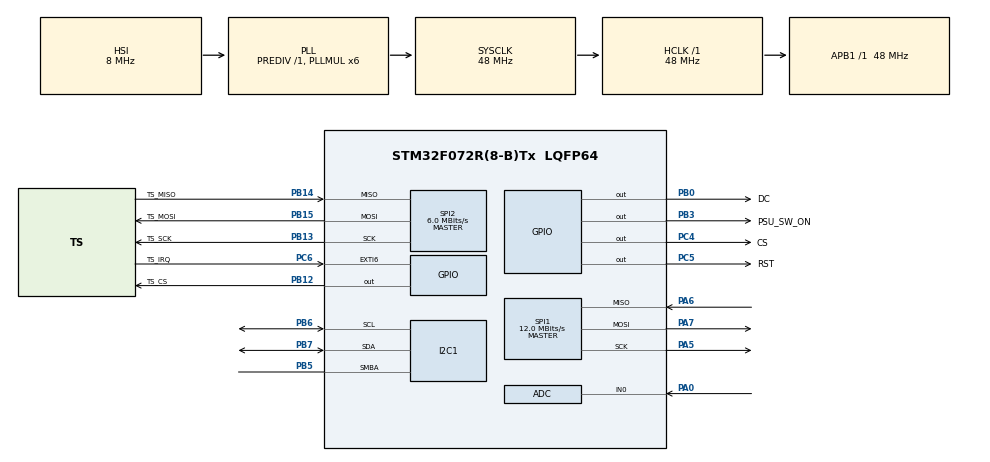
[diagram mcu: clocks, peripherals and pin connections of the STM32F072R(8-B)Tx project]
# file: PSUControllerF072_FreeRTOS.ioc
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ADC.ContinuousConvMode=ENABLE
ADC.Overrun=ADC_OVR_DATA_OVERWRITTEN
FREERTOS.BinarySemaphores01=myBinarySem01,Static,myBinarySem01ControlBlock;myBinarySem02,Static,myBinarySem02ControlBlock
FREERTOS.HEAP_NUMBER=4
FREERTOS.MEMORY_ALLOCATION=1
FREERTOS.Tasks01=DisplayTask,0,512,StartDisplayTask,Default,NULL,Static,DisplayTaskBuffer,DisplayTaskControlBlock;AdcTask,-2,512,StartAdcTask,Default,NULL,Static,AdcTaskBuffer,AdcTaskControlBlock;PenIrqTask,2,512,StartPenIrqTask,Default,NULL,Static,PenIrqTaskBuffer,PenIrqTaskControlBlock
FREERTOS.configCHECK_FOR_STACK_OVERFLOW=0
FREERTOS.configTOTAL_HEAP_SIZE=8191
FREERTOS.configUSE_MALLOC_FAILED_HOOK=0
FREERTOS.configUSE_NEWLIB_REENTRANT=1
Mcu.Family=STM32F0
Mcu.Name=STM32F072R(8-B)Tx
Mcu.Package=LQFP64
NVIC.EXTI4_15_IRQn=true\:0\:0\:false\:false\:true\:true\:true\:true
NVIC.I2C1_IRQn=true\:0\:0\:false\:false\:true\:true\:true\:true
NVIC.TIM17_IRQn=true\:0\:0\:false\:false\:true\:true\:true\:true
PA0.Mode=IN0
PA0.Signal=ADC_IN0
PA13.Mode=Serial_Wire
PA13.Signal=SYS_SWDIO
PA14.Mode=Serial_Wire
PA14.Signal=SYS_SWCLK
PA5.Mode=Full_Duplex_Master
PA5.Signal=SPI1_SCK
PA6.Mode=Full_Duplex_Master
PA6.Signal=SPI1_MISO
PA7.Mode=Full_Duplex_Master
PA7.Signal=SPI1_MOSI
PB0.GPIO_Label=DC
PB0.GPIO_Speed=GPIO_SPEED_FREQ_HIGH
PB0.Signal=GPIO_Output
PB12.GPIO_Label=TS_CS
PB12.GPIO_Speed=GPIO_SPEED_FREQ_HIGH
PB12.Signal=GPIO_Output
PB13.GPIO_Label=TS_SCK
PB13.Mode=Full_Duplex_Master
PB13.Signal=SPI2_SCK
PB14.GPIO_Label=TS_MISO
PB14.Mode=Full_Duplex_Master
PB14.Signal=SPI2_MISO
PB15.GPIO_Label=TS_MOSI
PB15.Mode=Full_Duplex_Master
PB15.Signal=SPI2_MOSI
PB3.GPIO_Label=PSU_SW_ON
PB3.GPIO_PuPd=GPIO_PULLDOWN
PB3.Signal=GPIO_Output
PB5.Mode=SMBus-Alert-mode
PB5.Signal=I2C1_SMBA
PB6.Mode=SMBus-Alert-mode
PB6.Signal=I2C1_SCL
PB7.Mode=SMBus-Alert-mode
PB7.Signal=I2C1_SDA
PC4.GPIO_Label=CS
PC4.GPIO_Speed=GPIO_SPEED_FREQ_HIGH
PC4.Signal=GPIO_Output
PC5.GPIO_Label=RST
PC5.GPIO_Speed=GPIO_SPEED_FREQ_HIGH
PC5.Signal=GPIO_Output
PC6.GPIO_Label=TS_IRQ
PC6.GPIO_ModeDefaultEXTI=GPIO_MODE_IT_FALLING
PC6.GPIO_PuPd=GPIO_PULLUP
PC6.Signal=GPXTI6
ProjectManager.HeapSize=0x200
ProjectManager.StackSize=0x400
ProjectManager.TargetToolchain=STM32CubeIDE
RCC.AHBFreq_Value=48000000
RCC.APB1Freq_Value=48000000
RCC.APB1TimFreq_Value=48000000
RCC.HCLKFreq_Value=48000000
RCC.PLLMUL=RCC_PLL_MUL6
RCC.SYSCLKFreq_VALUE=48000000
RCC.SYSCLKSource=RCC_SYSCLKSOURCE_PLLCLK
SPI1.BaudRatePrescaler=SPI_BAUDRATEPRESCALER_4
SPI1.CalculateBaudRate=12.0 MBits/s
SPI1.DataSize=SPI_DATASIZE_8BIT
SPI1.Direction=SPI_DIRECTION_2LINES
SPI1.Mode=SPI_MODE_MASTER
SPI1.NSSPMode=SPI_NSS_PULSE_DISABLE
SPI1.VirtualType=VM_MASTER
SPI2.BaudRatePrescaler=SPI_BAUDRATEPRESCALER_8
SPI2.CalculateBaudRate=6.0 MBits/s
SPI2.DataSize=SPI_DATASIZE_8BIT
SPI2.Direction=SPI_DIRECTION_2LINES
SPI2.Mode=SPI_MODE_MASTER
SPI2.NSSPMode=SPI_NSS_PULSE_DISABLE
SPI2.VirtualType=VM_MASTER
TIM17.Period=1024
VP_FREERTOS_VS_CMSIS_V1.Mode=CMSIS_V1
VP_TIM17_VS_ClockSourceINT.Mode=Enable_Timer
board=custom

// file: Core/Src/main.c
/* USER CODE BEGIN Header */
/**
  ******************************************************************************
  * @file           : main.c
  * @brief          : Main program body
  ******************************************************************************
  * @attention
  *
  * <h2><center>&copy; Copyright (c) 2020 STMicroelectronics.
  * All rights reserved.</center></h2>
  *
  * This software component is licensed by ST under BSD 3-Clause license,
  * the "License"; You may not use this file except in compliance with the
  * License. You may obtain a copy of the License at:
  *                        opensource.org/licenses/BSD-3-Clause
  *
  ******************************************************************************
  */
/* USER CODE END Header */
#include "main.h"
#include "cmsis_os.h"
#include "adc.h"
#include "i2c.h"
#include "spi.h"
#include "tim.h"
#include "gpio.h"

/* USER CODE BEGIN Includes */
#include "ILI9341_STM32_Driver.h"
#include "ILI9341_GFX.h"
#include "TSC2046_STM32.h"
#include "SMBUS_Manager.h"

#include <stdio.h>
/* USER CODE END Includes */

void SystemClock_Config(void);
void MX_FREERTOS_Init(void);

int main(void)
{

  /* MCU Configuration--------------------------------------------------------*/

  /* Reset of all peripherals, Initializes the Flash interface and the Systick. */
  HAL_Init();

  /* Configure the system clock */
  SystemClock_Config();

  /* Initialize all configured peripherals */
  MX_GPIO_Init();
  MX_SPI1_Init();
  MX_SPI2_Init();
  MX_TIM17_Init();
  MX_ADC_Init();
  MX_I2C1_SMBUS_Init();
  /* USER CODE BEGIN 2 */

  // init ILI9341 library
  ILI9341_Init();
  ILI9341_Set_Rotation(SCREEN_HORIZONTAL_1);
  ILI9341_Fill_Screen(LBLUE);

  // init TSC2046 library
  TSC2046_HM_Init();

  SM_Init(&hsmbus1);

  SM_InitDiagnostics();

  SM_DisplayDiagnostics();

  HAL_ADCEx_Calibration_Start(&hadc);
  HAL_ADC_Start(&hadc);
  /* USER CODE END 2 */

  /* Call init function for freertos objects (in freertos.c) */
  MX_FREERTOS_Init();
  /* Start scheduler */
  osKernelStart();

  /* We should never get here as control is now taken by the scheduler */
  /* Infinite loop */
  while (1)
  {

  }
}

void SystemClock_Config(void)
{
  RCC_OscInitTypeDef RCC_OscInitStruct = {0};
  RCC_ClkInitTypeDef RCC_ClkInitStruct = {0};
  RCC_PeriphCLKInitTypeDef PeriphClkInit = {0};

  /** Initializes the RCC Oscillators according to the specified parameters
  * in the RCC_OscInitTypeDef structure.
  */
  RCC_OscInitStruct.OscillatorType = RCC_OSCILLATORTYPE_HSI|RCC_OSCILLATORTYPE_HSI14;
  RCC_OscInitStruct.HSIState = RCC_HSI_ON;
  RCC_OscInitStruct.HSI14State = RCC_HSI14_ON;
  RCC_OscInitStruct.HSICalibrationValue = RCC_HSICALIBRATION_DEFAULT;
  RCC_OscInitStruct.HSI14CalibrationValue = 16;
  RCC_OscInitStruct.PLL.PLLState = RCC_PLL_ON;
  RCC_OscInitStruct.PLL.PLLSource = RCC_PLLSOURCE_HSI;
  RCC_OscInitStruct.PLL.PLLMUL = RCC_PLL_MUL6;
  RCC_OscInitStruct.PLL.PREDIV = RCC_PREDIV_DIV1;
  if (HAL_RCC_OscConfig(&RCC_OscInitStruct) != HAL_OK)
  {
    Error_Handler();
  }
  /** Initializes the CPU, AHB and APB buses clocks
  */
  RCC_ClkInitStruct.ClockType = RCC_CLOCKTYPE_HCLK|RCC_CLOCKTYPE_SYSCLK
                              |RCC_CLOCKTYPE_PCLK1;
  RCC_ClkInitStruct.SYSCLKSource = RCC_SYSCLKSOURCE_PLLCLK;
  RCC_ClkInitStruct.AHBCLKDivider = RCC_SYSCLK_DIV1;
  RCC_ClkInitStruct.APB1CLKDivider = RCC_HCLK_DIV1;

  if (HAL_RCC_ClockConfig(&RCC_ClkInitStruct, FLASH_LATENCY_1) != HAL_OK)
  {
    Error_Handler();
  }
  PeriphClkInit.PeriphClockSelection = RCC_PERIPHCLK_I2C1;
  PeriphClkInit.I2c1ClockSelection = RCC_I2C1CLKSOURCE_HSI;
  if (HAL_RCCEx_PeriphCLKConfig(&PeriphClkInit) != HAL_OK)
  {
    Error_Handler();
  }
}

void Error_Handler(void)
{
	while(1)
	{
	}
}

/************************ (C) COPYRIGHT STMicroelectronics *****END OF FILE****/

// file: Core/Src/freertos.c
/* USER CODE BEGIN Header */
/**
  ******************************************************************************
  * File Name          : freertos.c
  * Description        : Code for freertos applications
  ******************************************************************************
  * @attention
  *
  * <h2><center>&copy; Copyright (c) 2020 STMicroelectronics.
  * All rights reserved.</center></h2>
  *
  * This software component is licensed by ST under Ultimate Liberty license
  * SLA0044, the "License"; You may not use this file except in compliance with
  * the License. You may obtain a copy of the License at:
  *                             www.st.com/SLA0044
  *
  ******************************************************************************
  */
/* USER CODE END Header */

#include "FreeRTOS.h"
#include "task.h"
#include "main.h"
#include "cmsis_os.h"

/* USER CODE BEGIN Includes */
#include "UserTasks.h"
/* USER CODE END Includes */

osThreadId DisplayTaskHandle;
uint32_t DisplayTaskBuffer[ 512 ];
osStaticThreadDef_t DisplayTaskControlBlock;
osThreadId AdcTaskHandle;
uint32_t AdcTaskBuffer[ 512 ];
osStaticThreadDef_t AdcTaskControlBlock;
osThreadId PenIrqTaskHandle;
uint32_t PenIrqTaskBuffer[ 512 ];
osStaticThreadDef_t PenIrqTaskControlBlock;
osSemaphoreId myBinarySem01Handle;
osStaticSemaphoreDef_t myBinarySem01ControlBlock;
osSemaphoreId myBinarySem02Handle;
osStaticSemaphoreDef_t myBinarySem02ControlBlock;

void StartDisplayTask(void const * argument);
void StartAdcTask(void const * argument);
void StartPenIrqTask(void const * argument);

void MX_FREERTOS_Init(void); /* (MISRA C 2004 rule 8.1) */

/* GetIdleTaskMemory prototype (linked to static allocation support) */
void vApplicationGetIdleTaskMemory( StaticTask_t **ppxIdleTaskTCBBuffer, StackType_t **ppxIdleTaskStackBuffer, uint32_t *pulIdleTaskStackSize );

/* USER CODE BEGIN GET_IDLE_TASK_MEMORY */
static StaticTask_t xIdleTaskTCBBuffer;
static StackType_t xIdleStack[configMINIMAL_STACK_SIZE];

void vApplicationGetIdleTaskMemory( StaticTask_t **ppxIdleTaskTCBBuffer, StackType_t **ppxIdleTaskStackBuffer, uint32_t *pulIdleTaskStackSize )
{
  *ppxIdleTaskTCBBuffer = &xIdleTaskTCBBuffer;
  *ppxIdleTaskStackBuffer = &xIdleStack[0];
  *pulIdleTaskStackSize = configMINIMAL_STACK_SIZE;
  /* place for user code */
}
/* USER CODE END GET_IDLE_TASK_MEMORY */

void MX_FREERTOS_Init(void) {

  /* Create the semaphores(s) */
  /* definition and creation of myBinarySem01 */
  osSemaphoreStaticDef(myBinarySem01, &myBinarySem01ControlBlock);
  myBinarySem01Handle = osSemaphoreCreate(osSemaphore(myBinarySem01), 1);

  /* definition and creation of myBinarySem02 */
  osSemaphoreStaticDef(myBinarySem02, &myBinarySem02ControlBlock);
  myBinarySem02Handle = osSemaphoreCreate(osSemaphore(myBinarySem02), 1);

  /* Create the thread(s) */
  /* definition and creation of DisplayTask */
  osThreadStaticDef(DisplayTask, StartDisplayTask, osPriorityNormal, 0, 512, DisplayTaskBuffer, &DisplayTaskControlBlock);
  DisplayTaskHandle = osThreadCreate(osThread(DisplayTask), NULL);

  /* definition and creation of AdcTask */
  osThreadStaticDef(AdcTask, StartAdcTask, osPriorityLow, 0, 512, AdcTaskBuffer, &AdcTaskControlBlock);
  AdcTaskHandle = osThreadCreate(osThread(AdcTask), NULL);

  /* definition and creation of PenIrqTask */
  osThreadStaticDef(PenIrqTask, StartPenIrqTask, osPriorityHigh, 0, 512, PenIrqTaskBuffer, &PenIrqTaskControlBlock);
  PenIrqTaskHandle = osThreadCreate(osThread(PenIrqTask), NULL);

}

void StartDisplayTask(void const * argument)
{
  /* USER CODE BEGIN StartDisplayTask */

	UserDisplayManager();
  /* Infinite loop */
  for(;;)
  {
    osDelay(1);
  }
  /* USER CODE END StartDisplayTask */
}

void StartAdcTask(void const * argument)
{
  /* USER CODE BEGIN StartAdcTask */
	UserAdcManager();
  /* Infinite loop */
  for(;;)
  {
    osDelay(1);
  }
  /* USER CODE END StartAdcTask */
}

void StartPenIrqTask(void const * argument)
{
  /* USER CODE BEGIN StartPenIrqTask */
	UserPenIrqManager();
  /* Infinite loop */
  for(;;)
  {
    osDelay(1);
  }
  /* USER CODE END StartPenIrqTask */
}

/************************ (C) COPYRIGHT STMicroelectronics *****END OF FILE****/
